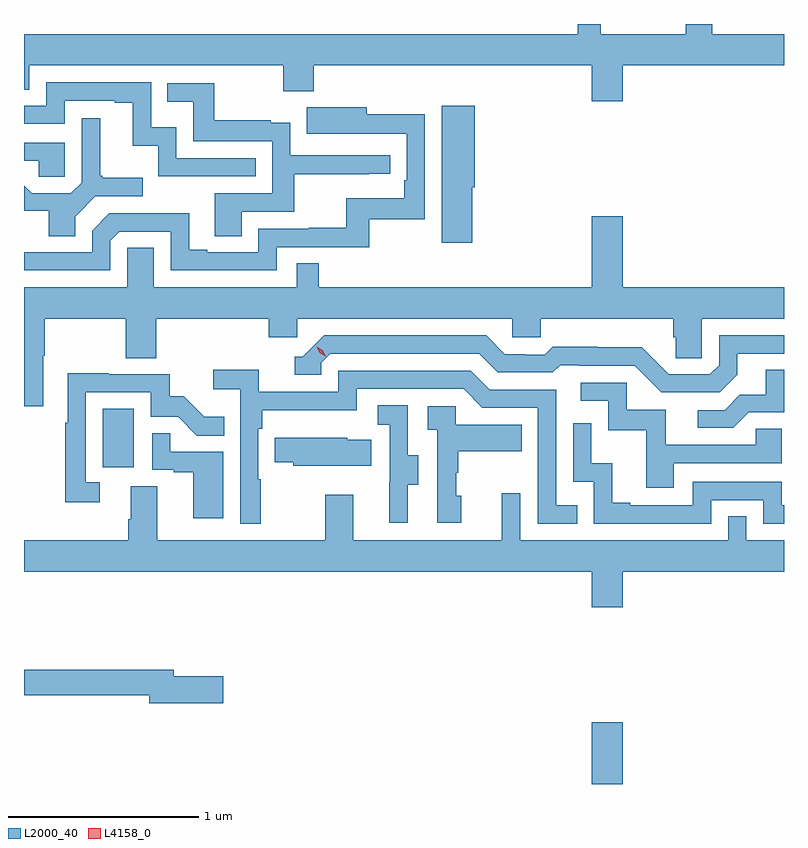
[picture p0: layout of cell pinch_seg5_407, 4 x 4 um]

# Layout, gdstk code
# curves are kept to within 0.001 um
import gdstk
lib = gdstk.Library(unit=1e-6, precision=1e-09)
def R(c, l, rs):  # rectangles x0, y0, x1, y1
    for r in rs: c.add(gdstk.rectangle(r[:2], r[2:], *l))
def P(c, l, *ps):  # polygons
    for p in ps: c.add(gdstk.Polygon(p, *l))
L2000_40 = (2000, 40)
L4158_0 = (4158, 0)

pinch_seg5_407 = lib.new_cell('pinch_seg5_407')
R(pinch_seg5_407, L2000_40, [(1004.168,855.642,1004.332,855.967), (1001.594,857.31,1001.758,857.617)])
P(pinch_seg5_407, L2000_40, [(1004.332,859.424),(1005.18,859.424),(1005.18,859.588),(1004.803,859.588),(1004.803,859.642),(1004.664,859.642),(1004.664,859.588),(1004.215,859.588),(1004.215,859.642),(1004.094,859.642),(1004.094,859.588),(1001.18,859.588),(1001.18,859.297),(1001.208,859.297),(1001.208,859.424),(1002.544,859.424),(1002.544,859.289),(1002.704,859.289),(1002.704,859.424),(1004.168,859.424),(1004.168,859.236),(1004.332,859.236)],
  [(1002.401,858.936),(1001.982,858.936),(1001.982,859.099),(1001.85,859.099),(1001.85,859.335),(1001.298,859.335),(1001.298,859.212),(1001.18,859.212),(1001.18,859.116),(1001.394,859.116),(1001.394,859.239),(1001.657,859.239),(1001.657,859.227),(1001.753,859.227),(1001.753,859.001),(1001.886,859.001),(1001.886,858.84),(1002.401,858.84)],
  [(1002.325,858.654),(1002.602,858.654),(1002.602,858.85),(1002.995,858.85),(1002.995,858.855),(1003.108,858.855),(1003.108,858.951),(1002.582,858.951),(1002.582,859.123),(1002.479,859.123),(1002.479,859.135),(1002.181,859.135),(1002.181,859.329),(1001.935,859.329),(1001.935,859.232),(1002.07,859.232),(1002.07,859.026),(1002.486,859.026),(1002.486,858.75),(1002.185,858.75),(1002.185,858.526),(1002.325,858.526)],
  [(1003.54,858.783),(1003.552,858.783),(1003.552,859.213),(1003.379,859.213),(1003.379,858.492),(1003.54,858.492)],
  [(1001.634,858.501),(1001.682,858.549),(1001.952,858.549),(1001.952,858.345),(1002.51,858.345),(1002.51,858.468),(1002.997,858.468),(1002.997,858.615),(1003.29,858.615),(1003.29,859.166),(1002.985,859.166),(1002.985,859.204),(1002.667,859.204),(1002.667,859.064),(1003.194,859.065),(1003.194,858.82),(1003.181,858.82),(1003.181,858.724),(1002.876,858.724),(1002.876,858.569),(1002.679,858.569),(1002.679,858.564),(1002.414,858.564),(1002.414,858.441),(1002.145,858.441),(1002.145,858.454),(1002.049,858.454),(1002.049,858.647),(1001.844,858.647),(1001.844,858.645),(1001.628,858.645),(1001.538,858.555),(1001.538,858.441),(1001.18,858.441),(1001.18,858.345),(1001.634,858.345)],
  [(1001.449,858.628),(1001.556,858.735),(1001.806,858.735),(1001.806,858.832),(1001.593,858.832),(1001.593,858.844),(1001.581,858.844),(1001.581,859.147),(1001.484,859.147),(1001.484,858.807),(1001.427,858.75),(1001.221,858.75),(1001.18,858.791),(1001.18,858.658),(1001.309,858.658),(1001.309,858.526),(1001.449,858.526)],
  [(1001.394,859.017),(1001.18,859.017),(1001.18,858.921),(1001.257,858.921),(1001.257,858.837),(1001.394,858.837)],
  [(1001.281,857.896),(1001.289,857.896),(1001.289,858.092),(1001.716,858.092),(1001.716,857.884),(1001.876,857.884),(1001.876,858.092),(1002.467,858.092),(1002.467,857.994),(1002.618,857.994),(1002.618,858.092),(1003.749,858.092),(1003.749,857.994),(1003.899,857.994),(1003.899,858.092),(1004.597,858.092),(1004.597,857.994),(1004.611,857.994),(1004.611,857.884),(1004.748,857.884),(1004.748,858.092),(1005.18,858.092),(1005.18,858.256),(1004.332,858.256),(1004.332,858.631),(1004.168,858.631),(1004.168,858.256),(1002.731,858.256),(1002.731,858.383),(1002.615,858.383),(1002.615,858.256),(1001.863,858.256),(1001.863,858.464),(1001.724,858.464),(1001.724,858.256),(1001.18,858.256),(1001.18,857.631),(1001.281,857.631)],
  [(1004.935,857.797),(1004.935,857.907),(1005.18,857.907),(1005.18,858.003),(1004.838,858.003),(1004.838,857.847),(1004.79,857.799),(1004.574,857.799),(1004.432,857.941),(1004.196,857.941),(1004.196,857.944),(1003.963,857.944),(1003.921,857.901),(1003.818,857.901),(1003.818,857.904),(1003.711,857.904),(1003.612,858.003),(1002.759,858.003),(1002.648,857.892),(1002.605,857.892),(1002.605,857.796),(1002.744,857.796),(1002.744,857.859),(1002.792,857.907),(1003.575,857.907),(1003.674,857.808),(1003.963,857.808),(1004.002,857.847),(1004.101,857.847),(1004.101,857.844),(1004.394,857.844),(1004.535,857.703),(1004.841,857.703)],
  [(1004.995,857.598),(1005.18,857.598),(1005.18,857.822),(1005.083,857.822),(1005.083,857.69),(1004.948,857.69),(1004.868,857.61),(1004.727,857.61),(1004.727,857.517),(1004.914,857.517)],
  [(1002.427,857.246),(1002.414,857.246),(1002.414,857.513),(1002.434,857.513),(1002.434,857.609),(1002.93,857.609),(1002.93,857.721),(1003.494,857.721),(1003.593,857.622),(1003.884,857.622),(1003.884,857.013),(1004.093,857.013),(1004.093,857.109),(1003.98,857.109),(1003.98,857.718),(1003.63,857.718),(1003.531,857.817),(1002.834,857.817),(1002.834,857.706),(1002.416,857.706),(1002.416,857.822),(1002.177,857.822),(1002.177,857.72),(1002.318,857.72),(1002.318,857.013),(1002.427,857.013)],
  [(1001.578,857.229),(1001.505,857.229),(1001.505,857.703),(1001.847,857.703),(1001.847,857.574),(1001.991,857.574),(1002.089,857.476),(1002.233,857.476),(1002.233,857.575),(1002.129,857.575),(1002.022,857.682),(1001.946,857.682),(1001.946,857.799),(1001.627,857.799),(1001.627,857.804),(1001.409,857.804),(1001.409,857.543),(1001.397,857.543),(1001.397,857.124),(1001.578,857.124)],
  [(1004.599,857.331),(1005.168,857.331),(1005.168,857.511),(1005.031,857.511),(1005.031,857.427),(1004.557,857.427),(1004.557,857.613),(1004.352,857.613),(1004.352,857.754),(1004.109,857.754),(1004.109,857.658),(1004.256,857.658),(1004.256,857.505),(1004.455,857.505),(1004.455,857.202),(1004.599,857.202)],
  [(1003.201,857.218),(1003.255,857.218),(1003.255,857.373),(1003.2,857.373),(1003.2,857.636),(1003.041,857.636),(1003.041,857.533),(1003.104,857.533),(1003.104,857.229),(1003.103,857.229),(1003.103,857.016),(1003.201,857.016)],
  [(1003.48,857.16),(1003.455,857.16),(1003.455,857.279),(1003.465,857.279),(1003.465,857.393),(1003.799,857.393),(1003.799,857.533),(1003.452,857.533),(1003.452,857.631),(1003.305,857.631),(1003.305,857.507),(1003.356,857.507),(1003.356,857.016),(1003.48,857.016)],
  [(1004.796,857.136),(1005.072,857.136),(1005.072,857.013),(1005.18,857.013),(1005.18,857.109),(1005.168,857.109),(1005.168,857.232),(1004.7,857.232),(1004.7,857.109),(1004.371,857.109),(1004.371,857.122),(1004.276,857.122),(1004.276,857.33),(1004.166,857.33),(1004.166,857.542),(1004.07,857.542),(1004.07,857.232),(1004.178,857.232),(1004.178,857.013),(1004.796,857.013)],
  [(1002.229,857.391),(1001.951,857.391),(1001.951,857.489),(1001.856,857.489),(1001.856,857.295),(1001.967,857.295),(1001.967,857.283),(1002.071,857.283),(1002.071,857.04),(1002.229,857.04)],
  [(1003.007,857.455),(1002.882,857.455),(1002.882,857.464),(1002.499,857.464),(1002.499,857.335),(1002.597,857.335),(1002.597,857.318),(1003.007,857.318)],
  [(1004.332,856.76),(1005.18,856.76),(1005.18,856.924),(1004.982,856.924),(1004.982,857.051),(1004.886,857.051),(1004.886,856.924),(1003.791,856.924),(1003.791,857.173),(1003.694,857.173),(1003.694,856.924),(1002.913,856.924),(1002.913,857.164),(1002.766,857.164),(1002.766,856.924),(1001.881,856.924),(1001.881,857.21),(1001.741,857.21),(1001.741,857.036),(1001.729,857.036),(1001.729,856.924),(1001.18,856.924),(1001.18,856.76),(1004.168,856.76),(1004.168,856.572),(1004.332,856.572)],
  [(1002.229,856.208),(1001.968,856.208),(1001.968,856.244),(1001.18,856.244),(1001.18,856.108),(1001.84,856.108),(1001.84,856.066),(1002.229,856.066)])
P(pinch_seg5_407, L4158_0, [(1002.767,857.893),(1002.736,857.912),(1002.72,857.944),(1002.72,857.944),(1002.72,857.944),(1002.751,857.926),(1002.768,857.893),(1002.768,857.893)])

lib.write_gds('pinch_seg5_407.gds')
